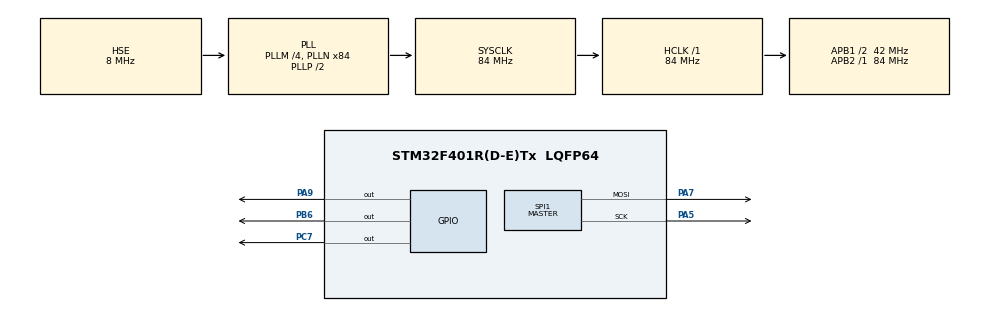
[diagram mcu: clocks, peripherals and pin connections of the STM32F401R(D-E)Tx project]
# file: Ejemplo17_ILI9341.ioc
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Dma.Request0=SPI1_TX
Dma.SPI1_TX.0.Direction=DMA_MEMORY_TO_PERIPH
Dma.SPI1_TX.0.FIFOMode=DMA_FIFOMODE_ENABLE
Dma.SPI1_TX.0.FIFOThreshold=DMA_FIFO_THRESHOLD_FULL
Dma.SPI1_TX.0.Instance=DMA2_Stream3
Dma.SPI1_TX.0.MemBurst=DMA_MBURST_SINGLE
Dma.SPI1_TX.0.MemDataAlignment=DMA_MDATAALIGN_BYTE
Dma.SPI1_TX.0.MemInc=DMA_MINC_ENABLE
Dma.SPI1_TX.0.Mode=DMA_NORMAL
Dma.SPI1_TX.0.PeriphBurst=DMA_PBURST_SINGLE
Dma.SPI1_TX.0.PeriphDataAlignment=DMA_PDATAALIGN_BYTE
Dma.SPI1_TX.0.PeriphInc=DMA_PINC_DISABLE
Dma.SPI1_TX.0.Priority=DMA_PRIORITY_LOW
Mcu.Family=STM32F4
Mcu.Name=STM32F401R(D-E)Tx
Mcu.Package=LQFP64
NVIC.DMA2_Stream3_IRQn=true\:0\:0\:false\:false\:true\:false\:true\:true
NVIC.PriorityGroup=NVIC_PRIORITYGROUP_4
PA13.Mode=Serial_Wire
PA13.Signal=SYS_JTMS-SWDIO
PA14.Mode=Serial_Wire
PA14.Signal=SYS_JTCK-SWCLK
PA5.Mode=TX_Only_Simplex_Unidirect_Master
PA5.Signal=SPI1_SCK
PA7.Mode=TX_Only_Simplex_Unidirect_Master
PA7.Signal=SPI1_MOSI
PA9.Signal=GPIO_Output
PB6.Signal=GPIO_Output
PC7.Signal=GPIO_Output
PH0\ -\ OSC_IN.Mode=HSE-External-Clock-Source
PH0\ -\ OSC_IN.Signal=RCC_OSC_IN
PH1\ -\ OSC_OUT.Mode=HSE-External-Clock-Source
PH1\ -\ OSC_OUT.Signal=RCC_OSC_OUT
ProjectManager.HeapSize=0x200
ProjectManager.StackSize=0x400
ProjectManager.TargetToolchain=STM32CubeIDE
RCC.48MHZClocksFreq_Value=42000000
RCC.AHBFreq_Value=84000000
RCC.APB1CLKDivider=RCC_HCLK_DIV2
RCC.APB1Freq_Value=42000000
RCC.APB1TimFreq_Value=84000000
RCC.APB2Freq_Value=84000000
RCC.APB2TimFreq_Value=84000000
RCC.CortexFreq_Value=84000000
RCC.HCLKFreq_Value=84000000
RCC.HSE_VALUE=8000000
RCC.HSI_VALUE=16000000
RCC.LSE_VALUE=32768
RCC.PLLM=4
RCC.PLLN=84
RCC.PLLSourceVirtual=RCC_PLLSOURCE_HSE
RCC.SYSCLKFreq_VALUE=84000000
RCC.SYSCLKSource=RCC_SYSCLKSOURCE_PLLCLK
RCC.VCOOutputFreq_Value=168000000
SPI1.BaudRatePrescaler=SPI_BAUDRATEPRESCALER_4
SPI1.Direction=SPI_DIRECTION_2LINES
SPI1.Mode=SPI_MODE_MASTER
SPI1.VirtualType=VM_MASTER
board=custom

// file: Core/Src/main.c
/* USER CODE BEGIN Header */
/**
  ******************************************************************************
  * @file           : main.c
  * @brief          : Main program body
  ******************************************************************************
  * @attention
  *
  * Copyright (c) 2023 STMicroelectronics.
  * All rights reserved.
  *
  * This software is licensed under terms that can be found in the LICENSE file
  * in the root directory of this software component.
  * If no LICENSE file comes with this software, it is provided AS-IS.
  *
  ******************************************************************************
  */
/* USER CODE END Header */
#include "main.h"

/* USER CODE BEGIN Includes */
#include "ILI9341_STM32_Driver.h"
#include "ILI9341_GFX.h"
/* USER CODE END Includes */

SPI_HandleTypeDef hspi1;
DMA_HandleTypeDef hdma_spi1_tx;

void SystemClock_Config(void);
static void MX_GPIO_Init(void);
static void MX_DMA_Init(void);
static void MX_SPI1_Init(void);

int main(void)
{

  /* MCU Configuration--------------------------------------------------------*/

  /* Reset of all peripherals, Initializes the Flash interface and the Systick. */
  HAL_Init();

  /* Configure the system clock */
  SystemClock_Config();

  /* Initialize all configured peripherals */
  MX_GPIO_Init();
  MX_DMA_Init();
  MX_SPI1_Init();
  /* USER CODE BEGIN 2 */
ILI9341_Init();
ILI9341_FillScreen(PINK);
ILI9341_SetRotation(SCREEN_HORIZONTAL_2);
ILI9341_DrawText("CURSO STM32", FONT4, 80, 100, BLACK, PINK);
HAL_Delay(500);

ILI9341_FillScreen(BLACK  );
HAL_Delay(1000);
ILI9341_FillScreen(NAVY );
HAL_Delay(1000);
ILI9341_FillScreen( DARKGREEN  );
HAL_Delay(1000);
ILI9341_FillScreen( DARKCYAN    	);
HAL_Delay(1000);
ILI9341_FillScreen( MAROON   );
HAL_Delay(1000);
ILI9341_FillScreen(PURPLE      		);
HAL_Delay(1000);
ILI9341_FillScreen( OLIVE       		);
HAL_Delay(1000);
ILI9341_FillScreen( LIGHTGREY);
HAL_Delay(1000);
ILI9341_FillScreen( DARKGREY  );
HAL_Delay(1000);
ILI9341_FillScreen( BLUE    );
HAL_Delay(1000);
ILI9341_FillScreen( GREEN   );
HAL_Delay(1000);
ILI9341_FillScreen( CYAN    );
HAL_Delay(1000);
ILI9341_FillScreen( RED     );
HAL_Delay(1000);
ILI9341_FillScreen( MAGENTA  );
HAL_Delay(1000);
ILI9341_FillScreen( YELLOW   );
HAL_Delay(1000);
ILI9341_FillScreen( WHITE    );
HAL_Delay(1000);
ILI9341_FillScreen(GREENYELLOW 	);
HAL_Delay(1000);
ILI9341_FillScreen( PINK  );
HAL_Delay(1000);
ILI9341_FillScreen( WHITE  );
char Buffer[35];
for (uint8_t var = 0; var < 10; ++var) {
	sprintf(Buffer,"Contador en %d",var);
	ILI9341_DrawText(Buffer, FONT3, 10, 10, BLACK, WHITE);
	ILI9341_DrawText(Buffer, FONT3, 10, 30, BLUE, WHITE);
	ILI9341_DrawText(Buffer, FONT3, 10, 50, RED, WHITE);
	ILI9341_DrawText(Buffer, FONT3, 10, 70, GREEN, WHITE);
	ILI9341_DrawText(Buffer, FONT3, 10, 90, MAROON, WHITE);
	ILI9341_DrawText(Buffer, FONT3, 10, 110, WHITE, BLACK);
	ILI9341_DrawText(Buffer, FONT3, 10, 130, RED, BLACK);
HAL_Delay(500);
}
HAL_Delay(1000);
ILI9341_FillScreen( WHITE  );
ILI9341_DrawVLine(160, 40, 200, RED);
HAL_Delay(1000);

ILI9341_FillScreen( WHITE  );
ILI9341_DrawHLine(50, 120, 200, RED);
HAL_Delay(1000);

ILI9341_FillScreen( WHITE  );
ILI9341_DrawHollowCircle(160, 120, 80, MAROON);
HAL_Delay(1000);

ILI9341_FillScreen( WHITE  );
ILI9341_DrawFilledCircle(160, 120, 50, RED);
HAL_Delay(1000);

  /* USER CODE END 2 */

  /* Infinite loop */
  while (1)
  {

  }
}

void SystemClock_Config(void)
{
  RCC_OscInitTypeDef RCC_OscInitStruct = {0};
  RCC_ClkInitTypeDef RCC_ClkInitStruct = {0};

  /** Configure the main internal regulator output voltage
  */
  __HAL_RCC_PWR_CLK_ENABLE();
  __HAL_PWR_VOLTAGESCALING_CONFIG(PWR_REGULATOR_VOLTAGE_SCALE2);

  /** Initializes the RCC Oscillators according to the specified parameters
  * in the RCC_OscInitTypeDef structure.
  */
  RCC_OscInitStruct.OscillatorType = RCC_OSCILLATORTYPE_HSE;
  RCC_OscInitStruct.HSEState = RCC_HSE_BYPASS;
  RCC_OscInitStruct.PLL.PLLState = RCC_PLL_ON;
  RCC_OscInitStruct.PLL.PLLSource = RCC_PLLSOURCE_HSE;
  RCC_OscInitStruct.PLL.PLLM = 4;
  RCC_OscInitStruct.PLL.PLLN = 84;
  RCC_OscInitStruct.PLL.PLLP = RCC_PLLP_DIV2;
  RCC_OscInitStruct.PLL.PLLQ = 4;
  if (HAL_RCC_OscConfig(&RCC_OscInitStruct) != HAL_OK)
  {
    Error_Handler();
  }

  /** Initializes the CPU, AHB and APB buses clocks
  */
  RCC_ClkInitStruct.ClockType = RCC_CLOCKTYPE_HCLK|RCC_CLOCKTYPE_SYSCLK
                              |RCC_CLOCKTYPE_PCLK1|RCC_CLOCKTYPE_PCLK2;
  RCC_ClkInitStruct.SYSCLKSource = RCC_SYSCLKSOURCE_PLLCLK;
  RCC_ClkInitStruct.AHBCLKDivider = RCC_SYSCLK_DIV1;
  RCC_ClkInitStruct.APB1CLKDivider = RCC_HCLK_DIV2;
  RCC_ClkInitStruct.APB2CLKDivider = RCC_HCLK_DIV1;

  if (HAL_RCC_ClockConfig(&RCC_ClkInitStruct, FLASH_LATENCY_2) != HAL_OK)
  {
    Error_Handler();
  }
}

static void MX_SPI1_Init(void)
{

  /* SPI1 parameter configuration*/
  hspi1.Instance = SPI1;
  hspi1.Init.Mode = SPI_MODE_MASTER;
  hspi1.Init.Direction = SPI_DIRECTION_2LINES;
  hspi1.Init.DataSize = SPI_DATASIZE_8BIT;
  hspi1.Init.CLKPolarity = SPI_POLARITY_LOW;
  hspi1.Init.CLKPhase = SPI_PHASE_1EDGE;
  hspi1.Init.NSS = SPI_NSS_SOFT;
  hspi1.Init.BaudRatePrescaler = SPI_BAUDRATEPRESCALER_4;
  hspi1.Init.FirstBit = SPI_FIRSTBIT_MSB;
  hspi1.Init.TIMode = SPI_TIMODE_DISABLE;
  hspi1.Init.CRCCalculation = SPI_CRCCALCULATION_DISABLE;
  hspi1.Init.CRCPolynomial = 10;
  if (HAL_SPI_Init(&hspi1) != HAL_OK)
  {
    Error_Handler();
  }

}

static void MX_DMA_Init(void)
{

  /* DMA controller clock enable */
  __HAL_RCC_DMA2_CLK_ENABLE();

  /* DMA interrupt init */
  /* DMA2_Stream3_IRQn interrupt configuration */
  HAL_NVIC_SetPriority(DMA2_Stream3_IRQn, 0, 0);
  HAL_NVIC_EnableIRQ(DMA2_Stream3_IRQn);

}

static void MX_GPIO_Init(void)
{
  GPIO_InitTypeDef GPIO_InitStruct = {0};

  /* GPIO Ports Clock Enable */
  __HAL_RCC_GPIOH_CLK_ENABLE();
  __HAL_RCC_GPIOA_CLK_ENABLE();
  __HAL_RCC_GPIOC_CLK_ENABLE();
  __HAL_RCC_GPIOB_CLK_ENABLE();

  /*Configure GPIO pin Output Level */
  HAL_GPIO_WritePin(GPIOC, GPIO_PIN_7, GPIO_PIN_RESET);

  /*Configure GPIO pin Output Level */
  HAL_GPIO_WritePin(GPIOA, GPIO_PIN_9, GPIO_PIN_RESET);

  /*Configure GPIO pin Output Level */
  HAL_GPIO_WritePin(GPIOB, GPIO_PIN_6, GPIO_PIN_RESET);

  /*Configure GPIO pin : PC7 */
  GPIO_InitStruct.Pin = GPIO_PIN_7;
  GPIO_InitStruct.Mode = GPIO_MODE_OUTPUT_PP;
  GPIO_InitStruct.Pull = GPIO_NOPULL;
  GPIO_InitStruct.Speed = GPIO_SPEED_FREQ_LOW;
  HAL_GPIO_Init(GPIOC, &GPIO_InitStruct);

  /*Configure GPIO pin : PA9 */
  GPIO_InitStruct.Pin = GPIO_PIN_9;
  GPIO_InitStruct.Mode = GPIO_MODE_OUTPUT_PP;
  GPIO_InitStruct.Pull = GPIO_NOPULL;
  GPIO_InitStruct.Speed = GPIO_SPEED_FREQ_LOW;
  HAL_GPIO_Init(GPIOA, &GPIO_InitStruct);

  /*Configure GPIO pin : PB6 */
  GPIO_InitStruct.Pin = GPIO_PIN_6;
  GPIO_InitStruct.Mode = GPIO_MODE_OUTPUT_PP;
  GPIO_InitStruct.Pull = GPIO_NOPULL;
  GPIO_InitStruct.Speed = GPIO_SPEED_FREQ_LOW;
  HAL_GPIO_Init(GPIOB, &GPIO_InitStruct);

}

void Error_Handler(void)
{
  __disable_irq();
  while (1)
  {
  }
}
